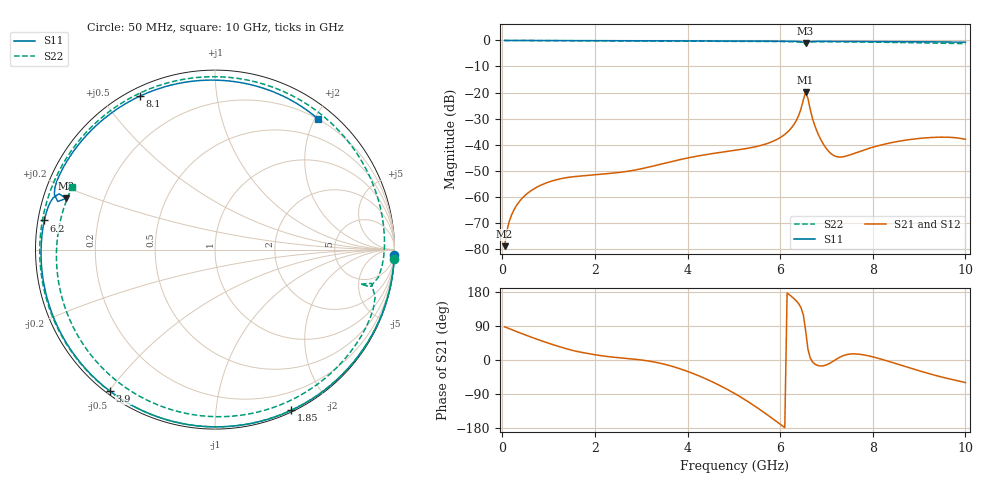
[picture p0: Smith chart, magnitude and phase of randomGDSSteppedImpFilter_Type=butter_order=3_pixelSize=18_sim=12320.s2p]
! freq	dB(S11)	phase(S11)	dB(S12)	phase(S12)
!  dB(S21)	phase(S21)	dB(S22)	phase(S22)
!S-par simulation data
#  GHz  S  DB  R 50
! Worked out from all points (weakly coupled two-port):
!   200 points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, 50 MHz to 10 GHz, reference 50 ohm
!   highest |S21| = -19.87 dB at 6.55 GHz (marker M1); lowest = -79.0 dB at 50 MHz (marker M2)
!   lowest |S11| = -1.1 dB at 6.55 GHz (marker M3), VSWR 15.39, Z = 3.34 + j8.31 ohm
!   |S11| at or under -10 dB: nowhere
!   |S22| runs from -1.6 to 0.0 dB; largest |S21 - S12| = 0
!   S11 on the Smith chart (normalised r, x): 50 MHz: 1, -62; 1.85 GHz: 0.02, -1.58; 3.9 GHz: 0.01, -0.50; 6.2 GHz: 0.02, +0.08; 8.1 GHz: 0.03, +0.62; 10 GHz: 0.20, +2.05
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0.05  -0.00 -1.8  -78.99 87.5  -78.99 87.5  -0.00 -3.1
0.2  -0.01 -7.3  -67.01 80.2  -67.01 80.2  -0.02 -12.2
0.5  -0.02 -18.0  -59.37 66.0  -59.37 66.0  -0.04 -30.3
1.15  -0.05 -40.9  -53.57 38.3  -53.57 38.3  -0.09 -68.2
1.75  -0.08 -61.3  -51.94 19.3  -51.94 19.3  -0.12 -101.2
1.85  -0.08 -64.6  -51.76 17.1  -51.76 17.1  -0.13 -106.5
2.65  -0.11 -90.0  -50.39 4.5  -50.39 4.5  -0.17 -147.6
3.4  -0.14 -112.3  -47.60 -8.3  -47.60 -8.3  -0.21 174.5
3.9  -0.16 -126.6  -45.51 -25.7  -45.51 -25.7  -0.25 148.4
4.5  -0.19 -143.2  -43.53 -55.6  -43.53 -55.6  -0.29 115.1
5.05  -0.22 -158.1  -42.11 -90.7  -42.11 -90.7  -0.33 82.2
5.55  -0.25 -171.6  -40.47 -129.7  -40.47 -129.7  -0.38 50.6
6.2  -0.31 170.3  -34.45 172.1  -34.45 172.1  -0.46 7.9
6.4  -0.40 164.0  -28.80 148.6  -28.80 148.6  -0.59 -6.0
6.55  -1.13 161.1  -19.87 77.9  -19.87 77.9  -1.58 -13.3
6.7  -0.39 159.0  -30.04 -5.2  -30.04 -5.2  -0.52 -20.4
6.95  -0.34 150.8  -40.27 -14.8  -40.27 -14.8  -0.48 -37.2
7.2  -0.36 143.4  -44.52 1.1  -44.52 1.1  -0.51 -52.4
8.1  -0.43 116.1  -40.50 5.1  -40.50 5.1  -0.67 -102.7
8.35  -0.45 108.2  -39.44 -3.9  -39.44 -3.9  -0.73 -115.9
9.2  -0.53 80.0  -37.33 -35.5  -37.33 -35.5  -0.96 -160.1
10  -0.66 51.7  -37.94 -59.7  -37.94 -59.7  -1.22 156.5
